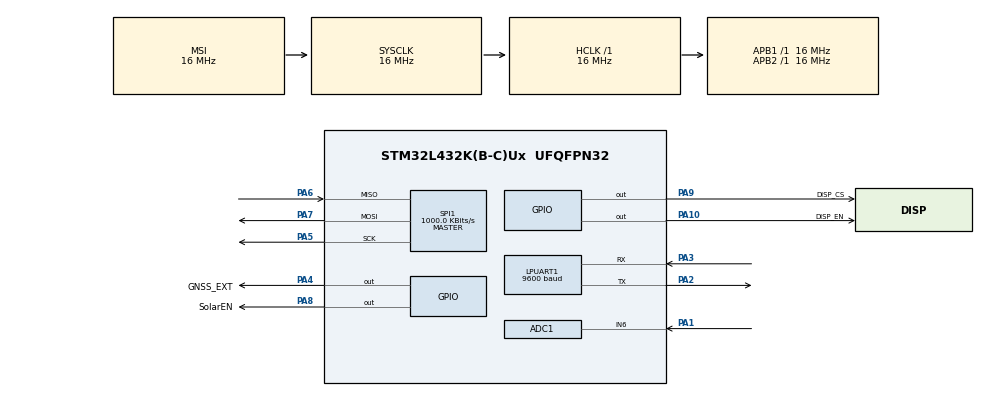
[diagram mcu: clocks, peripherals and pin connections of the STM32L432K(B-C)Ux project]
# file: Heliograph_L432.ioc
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ADC1.Channel-6\#ChannelRegularConversion=ADC_CHANNEL_6
ADC1.Channel-7\#ChannelRegularConversion=ADC_CHANNEL_TEMPSENSOR
ADC1.Channel-8\#ChannelRegularConversion=ADC_CHANNEL_VREFINT
ADC1.ClockPrescaler=ADC_CLOCK_ASYNC_DIV16
ADC1.DMAContinuousRequests=ENABLE
ADC1.EOCSelection=ADC_EOC_SEQ_CONV
ADC1.NbrOfConversion=3
ADC1.NbrOfConversionFlag=1
ADC1.OffsetNumber-6\#ChannelRegularConversion=ADC_OFFSET_NONE
ADC1.OffsetNumber-7\#ChannelRegularConversion=ADC_OFFSET_NONE
ADC1.OffsetNumber-8\#ChannelRegularConversion=ADC_OFFSET_NONE
ADC1.Overrun=ADC_OVR_DATA_OVERWRITTEN
ADC1.OversamplingMode=DISABLE
ADC1.Rank-6\#ChannelRegularConversion=1
ADC1.Rank-7\#ChannelRegularConversion=2
ADC1.Rank-8\#ChannelRegularConversion=3
ADC1.SamplingTime-6\#ChannelRegularConversion=ADC_SAMPLETIME_640CYCLES_5
ADC1.SamplingTime-7\#ChannelRegularConversion=ADC_SAMPLETIME_640CYCLES_5
ADC1.SamplingTime-8\#ChannelRegularConversion=ADC_SAMPLETIME_640CYCLES_5
ADC1.master=1
Dma.ADC1.0.Direction=DMA_PERIPH_TO_MEMORY
Dma.ADC1.0.Instance=DMA1_Channel1
Dma.ADC1.0.MemDataAlignment=DMA_MDATAALIGN_HALFWORD
Dma.ADC1.0.MemInc=DMA_MINC_ENABLE
Dma.ADC1.0.Mode=DMA_NORMAL
Dma.ADC1.0.PeriphDataAlignment=DMA_PDATAALIGN_HALFWORD
Dma.ADC1.0.PeriphInc=DMA_PINC_DISABLE
Dma.ADC1.0.Priority=DMA_PRIORITY_LOW
Dma.Request0=ADC1
Dma.Request1=SPI1_TX
Dma.SPI1_TX.1.Direction=DMA_MEMORY_TO_PERIPH
Dma.SPI1_TX.1.Instance=DMA1_Channel3
Dma.SPI1_TX.1.MemDataAlignment=DMA_MDATAALIGN_BYTE
Dma.SPI1_TX.1.MemInc=DMA_MINC_ENABLE
Dma.SPI1_TX.1.Mode=DMA_NORMAL
Dma.SPI1_TX.1.PeriphDataAlignment=DMA_PDATAALIGN_BYTE
Dma.SPI1_TX.1.PeriphInc=DMA_PINC_DISABLE
Dma.SPI1_TX.1.Priority=DMA_PRIORITY_LOW
LPUART1.BaudRate=9600
LPUART1.WordLength=UART_WORDLENGTH_8B
Mcu.Family=STM32L4
Mcu.Name=STM32L432K(B-C)Ux
Mcu.Package=UFQFPN32
NVIC.DMA1_Channel1_IRQn=true\:0\:0\:false\:false\:true\:false\:true\:true
NVIC.DMA1_Channel3_IRQn=true\:0\:0\:false\:false\:true\:false\:true\:true
NVIC.LPUART1_IRQn=true\:0\:0\:false\:false\:true\:true\:true\:true
NVIC.PriorityGroup=NVIC_PRIORITYGROUP_4
NVIC.RTC_WKUP_IRQn=true\:0\:0\:false\:false\:true\:true\:true\:true
NVIC.SPI1_IRQn=true\:0\:0\:false\:false\:true\:true\:true\:true
PA1.Signal=ADCx_IN6
PA10.GPIO_Label=DISP_EN
PA10.Signal=GPIO_Output
PA13\ (JTMS-SWDIO).Mode=Serial_Wire
PA13\ (JTMS-SWDIO).Signal=SYS_JTMS-SWDIO
PA14\ (JTCK-SWCLK).Mode=Serial_Wire
PA14\ (JTCK-SWCLK).Signal=SYS_JTCK-SWCLK
PA2.Mode=Asynchronous
PA2.Signal=LPUART1_TX
PA3.Mode=Asynchronous
PA3.Signal=LPUART1_RX
PA4.GPIO_Label=GNSS_EXT
PA4.PinState=GPIO_PIN_RESET
PA4.Signal=GPIO_Output
PA5.Mode=Full_Duplex_Master
PA5.Signal=SPI1_SCK
PA6.Mode=Full_Duplex_Master
PA6.Signal=SPI1_MISO
PA7.Mode=Full_Duplex_Master
PA7.Signal=SPI1_MOSI
PA8.GPIO_Label=SolarEN
PA8.GPIO_ModeDefaultOutputPP=GPIO_MODE_OUTPUT_OD
PA8.GPIO_PuPd=GPIO_NOPULL
PA8.PinState=GPIO_PIN_SET
PA8.Signal=GPIO_Output
PA9.GPIO_Label=DISP_CS
PA9.Signal=GPIO_Output
PC14-OSC32_IN\ (PC14).Mode=LSE-External-Oscillator
PC14-OSC32_IN\ (PC14).Signal=RCC_OSC32_IN
PC15-OSC32_OUT\ (PC15).Mode=LSE-External-Oscillator
PC15-OSC32_OUT\ (PC15).Signal=RCC_OSC32_OUT
ProjectManager.HeapSize=0x200
ProjectManager.StackSize=0x400
ProjectManager.TargetToolchain=STM32CubeIDE
RCC.ADCCLockSelection=RCC_ADCCLKSOURCE_SYSCLK
RCC.ADCFreq_Value=16000000
RCC.AHBFreq_Value=16000000
RCC.APB1Freq_Value=16000000
RCC.APB1TimFreq_Value=16000000
RCC.APB2Freq_Value=16000000
RCC.APB2TimFreq_Value=16000000
RCC.CK48CLockSelection=RCC_USBCLKSOURCE_HSI48
RCC.CortexFreq_Value=16000000
RCC.HCLKFreq_Value=16000000
RCC.HSE_VALUE=8000000
RCC.HSI48_VALUE=48000000
RCC.HSI_VALUE=16000000
RCC.LPUART1CLockSelection=RCC_LPUART1CLKSOURCE_LSE
RCC.LSE_Drive_Capability=RCC_LSEDRIVE_MEDIUMHIGH
RCC.MSIClockRange=RCC_MSIRANGE_8
RCC.MSI_VALUE=16000000
RCC.PLLR=RCC_PLLR_DIV4
RCC.PLLSourceVirtual=RCC_PLLSOURCE_HSI
RCC.PWR_Regulator_Voltage_Scale=PWR_REGULATOR_VOLTAGE_SCALE1
RCC.RTCClockSelection=RCC_RTCCLKSOURCE_LSE
RCC.SYSCLKFreq_VALUE=16000000
RCC.USBFreq_Value=48000000
RCC.VCOOutputFreq_Value=128000000
RCC.VDD_VALUE=3
RTC.Date=10
RTC.Hours=4
RTC.Minutes=4
RTC.Month=RTC_MONTH_MAY
RTC.Seconds=57
RTC.WakeUpCounter=2047
RTC.Year=23
SH.ADCx_IN6.0=ADC1_IN6,IN6-Single-Ended
SPI1.BaudRatePrescaler=SPI_BAUDRATEPRESCALER_16
SPI1.CalculateBaudRate=1000.0 KBits/s
SPI1.DataSize=SPI_DATASIZE_8BIT
SPI1.Direction=SPI_DIRECTION_2LINES
SPI1.FirstBit=SPI_FIRSTBIT_LSB
SPI1.Mode=SPI_MODE_MASTER
SPI1.NSSPMode=SPI_NSS_PULSE_DISABLE
SPI1.VirtualType=VM_MASTER
VP_ADC1_TempSens_Input.Mode=IN-TempSens
VP_ADC1_Vref_Input.Mode=IN-Vrefint
VP_RTC_VS_RTC_Activate.Mode=RTC_Enabled
VP_RTC_VS_RTC_Calendar.Mode=RTC_Calendar
VP_RTC_VS_RTC_WakeUp_intern.Mode=WakeUp
board=custom

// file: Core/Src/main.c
/* USER CODE BEGIN Header */
/**
  ******************************************************************************
  * @file           : main.c
  * @brief          : Main program body
  ******************************************************************************
  * @attention
  *
  * Copyright (c) 2023 STMicroelectronics.
  * All rights reserved.
  *
  * This software is licensed under terms that can be found in the LICENSE file
  * in the root directory of this software component.
  * If no LICENSE file comes with this software, it is provided AS-IS.
  *
  ******************************************************************************
  */
/* USER CODE END Header */
#include "main.h"

/* USER CODE BEGIN Includes */
#include "myApp.h"
/* USER CODE END Includes */

ADC_HandleTypeDef hadc1;
DMA_HandleTypeDef hdma_adc1;

RTC_HandleTypeDef hrtc;

SPI_HandleTypeDef hspi1;
DMA_HandleTypeDef hdma_spi1_tx;

void SystemClock_Config(void);
static void MX_GPIO_Init(void);
static void MX_DMA_Init(void);
static void MX_SPI1_Init(void);
static void MX_ADC1_Init(void);
static void MX_LPUART1_UART_Init(void);
static void MX_RTC_Init(void);

int main(void)
{

  /* MCU Configuration--------------------------------------------------------*/

  /* Reset of all peripherals, Initializes the Flash interface and the Systick. */
  HAL_Init();

  /* Configure the system clock */
  SystemClock_Config();

  /* Initialize all configured peripherals */
  MX_GPIO_Init();
  MX_DMA_Init();
  MX_SPI1_Init();
  MX_ADC1_Init();
  MX_RTC_Init();
  /* USER CODE BEGIN 2 */
  myApp_init();

  /* USER CODE END 2 */

  /* Infinite loop */
  /* USER CODE BEGIN WHILE */
  while (1)
  {
	  myApp_loop();
    /* USER CODE END WHILE */

  }
}

void SystemClock_Config(void)
{
  RCC_OscInitTypeDef RCC_OscInitStruct = {0};
  RCC_ClkInitTypeDef RCC_ClkInitStruct = {0};

  /** Configure the main internal regulator output voltage
  */
  if (HAL_PWREx_ControlVoltageScaling(PWR_REGULATOR_VOLTAGE_SCALE1) != HAL_OK)
  {
    Error_Handler();
  }

  /** Configure LSE Drive Capability
  */
  HAL_PWR_EnableBkUpAccess();
  __HAL_RCC_LSEDRIVE_CONFIG(RCC_LSEDRIVE_MEDIUMHIGH);

  /** Initializes the RCC Oscillators according to the specified parameters
  * in the RCC_OscInitTypeDef structure.
  */
  RCC_OscInitStruct.OscillatorType = RCC_OSCILLATORTYPE_LSE|RCC_OSCILLATORTYPE_MSI;
  RCC_OscInitStruct.LSEState = RCC_LSE_ON;
  RCC_OscInitStruct.MSIState = RCC_MSI_ON;
  RCC_OscInitStruct.MSICalibrationValue = 0;
  RCC_OscInitStruct.MSIClockRange = RCC_MSIRANGE_8;
  RCC_OscInitStruct.PLL.PLLState = RCC_PLL_NONE;
  if (HAL_RCC_OscConfig(&RCC_OscInitStruct) != HAL_OK)
  {
    Error_Handler();
  }

  /** Initializes the CPU, AHB and APB buses clocks
  */
  RCC_ClkInitStruct.ClockType = RCC_CLOCKTYPE_HCLK|RCC_CLOCKTYPE_SYSCLK
                              |RCC_CLOCKTYPE_PCLK1|RCC_CLOCKTYPE_PCLK2;
  RCC_ClkInitStruct.SYSCLKSource = RCC_SYSCLKSOURCE_MSI;
  RCC_ClkInitStruct.AHBCLKDivider = RCC_SYSCLK_DIV1;
  RCC_ClkInitStruct.APB1CLKDivider = RCC_HCLK_DIV1;
  RCC_ClkInitStruct.APB2CLKDivider = RCC_HCLK_DIV1;

  if (HAL_RCC_ClockConfig(&RCC_ClkInitStruct, FLASH_LATENCY_0) != HAL_OK)
  {
    Error_Handler();
  }

  /** Enable MSI Auto calibration
  */
  HAL_RCCEx_EnableMSIPLLMode();
}

static void MX_ADC1_Init(void)
{

  ADC_ChannelConfTypeDef sConfig = {0};

  /** Common config
  */
  hadc1.Instance = ADC1;
  hadc1.Init.ClockPrescaler = ADC_CLOCK_ASYNC_DIV16;
  hadc1.Init.Resolution = ADC_RESOLUTION_12B;
  hadc1.Init.DataAlign = ADC_DATAALIGN_RIGHT;
  hadc1.Init.ScanConvMode = ADC_SCAN_ENABLE;
  hadc1.Init.EOCSelection = ADC_EOC_SEQ_CONV;
  hadc1.Init.LowPowerAutoWait = DISABLE;
  hadc1.Init.ContinuousConvMode = DISABLE;
  hadc1.Init.NbrOfConversion = 3;
  hadc1.Init.DiscontinuousConvMode = DISABLE;
  hadc1.Init.ExternalTrigConv = ADC_SOFTWARE_START;
  hadc1.Init.ExternalTrigConvEdge = ADC_EXTERNALTRIGCONVEDGE_NONE;
  hadc1.Init.DMAContinuousRequests = ENABLE;
  hadc1.Init.Overrun = ADC_OVR_DATA_OVERWRITTEN;
  hadc1.Init.OversamplingMode = DISABLE;
  if (HAL_ADC_Init(&hadc1) != HAL_OK)
  {
    Error_Handler();
  }

  /** Configure Regular Channel
  */
  sConfig.Channel = ADC_CHANNEL_6;
  sConfig.Rank = ADC_REGULAR_RANK_1;
  sConfig.SamplingTime = ADC_SAMPLETIME_640CYCLES_5;
  sConfig.SingleDiff = ADC_SINGLE_ENDED;
  sConfig.OffsetNumber = ADC_OFFSET_NONE;
  sConfig.Offset = 0;
  if (HAL_ADC_ConfigChannel(&hadc1, &sConfig) != HAL_OK)
  {
    Error_Handler();
  }

  /** Configure Regular Channel
  */
  sConfig.Channel = ADC_CHANNEL_TEMPSENSOR;
  sConfig.Rank = ADC_REGULAR_RANK_2;
  if (HAL_ADC_ConfigChannel(&hadc1, &sConfig) != HAL_OK)
  {
    Error_Handler();
  }

  /** Configure Regular Channel
  */
  sConfig.Channel = ADC_CHANNEL_VREFINT;
  sConfig.Rank = ADC_REGULAR_RANK_3;
  if (HAL_ADC_ConfigChannel(&hadc1, &sConfig) != HAL_OK)
  {
    Error_Handler();
  }
  /* USER CODE BEGIN ADC1_Init 2 */

  HAL_ADCEx_Calibration_Start(&hadc1, ADC_SINGLE_ENDED);
  /* USER CODE END ADC1_Init 2 */

}

static void MX_LPUART1_UART_Init(void)
{

  LL_LPUART_InitTypeDef LPUART_InitStruct = {0};

  LL_GPIO_InitTypeDef GPIO_InitStruct = {0};
  RCC_PeriphCLKInitTypeDef PeriphClkInit = {0};

  /** Initializes the peripherals clock
  */
  PeriphClkInit.PeriphClockSelection = RCC_PERIPHCLK_LPUART1;
  PeriphClkInit.Lpuart1ClockSelection = RCC_LPUART1CLKSOURCE_LSE;
  if (HAL_RCCEx_PeriphCLKConfig(&PeriphClkInit) != HAL_OK)
  {
    Error_Handler();
  }

  /* Peripheral clock enable */
  LL_APB1_GRP2_EnableClock(LL_APB1_GRP2_PERIPH_LPUART1);

  LL_AHB2_GRP1_EnableClock(LL_AHB2_GRP1_PERIPH_GPIOA);
  /**LPUART1 GPIO Configuration
  PA2   ------> LPUART1_TX
  PA3   ------> LPUART1_RX
  */
  GPIO_InitStruct.Pin = LL_GPIO_PIN_2|LL_GPIO_PIN_3;
  GPIO_InitStruct.Mode = LL_GPIO_MODE_ALTERNATE;
  GPIO_InitStruct.Speed = LL_GPIO_SPEED_FREQ_VERY_HIGH;
  GPIO_InitStruct.OutputType = LL_GPIO_OUTPUT_PUSHPULL;
  GPIO_InitStruct.Pull = LL_GPIO_PULL_NO;
  GPIO_InitStruct.Alternate = LL_GPIO_AF_8;
  LL_GPIO_Init(GPIOA, &GPIO_InitStruct);

  /* LPUART1 interrupt Init */
  NVIC_SetPriority(LPUART1_IRQn, NVIC_EncodePriority(NVIC_GetPriorityGrouping(),0, 0));
  NVIC_EnableIRQ(LPUART1_IRQn);

  /* USER CODE BEGIN LPUART1_Init 1 */
  LL_LPUART_DisableOverrunDetect(LPUART1);
  LL_LPUART_EnableClockInStopMode(LPUART1);
  LL_LPUART_SetWKUPType(LPUART1, LL_LPUART_WAKEUP_ON_RXNE); //Set the wake-up event type : specify wake-up on RXNE flag

  /* USER CODE END LPUART1_Init 1 */
  LPUART_InitStruct.BaudRate = 9600;
  LPUART_InitStruct.DataWidth = LL_LPUART_DATAWIDTH_8B;
  LPUART_InitStruct.StopBits = LL_LPUART_STOPBITS_1;
  LPUART_InitStruct.Parity = LL_LPUART_PARITY_NONE;
  LPUART_InitStruct.TransferDirection = LL_LPUART_DIRECTION_TX_RX;
  LPUART_InitStruct.HardwareFlowControl = LL_LPUART_HWCONTROL_NONE;
  LL_LPUART_Init(LPUART1, &LPUART_InitStruct);
  LL_LPUART_Enable(LPUART1);
  /* USER CODE BEGIN LPUART1_Init 2 */
  LL_LPUART_EnableIT_RXNE(LPUART1);

  /* USER CODE END LPUART1_Init 2 */

}

static void MX_RTC_Init(void)
{

  RTC_TimeTypeDef sTime = {0};
  RTC_DateTypeDef sDate = {0};

  /** Initialize RTC Only
  */
  hrtc.Instance = RTC;
  hrtc.Init.HourFormat = RTC_HOURFORMAT_24;
  hrtc.Init.AsynchPrediv = 127;
  hrtc.Init.SynchPrediv = 255;
  hrtc.Init.OutPut = RTC_OUTPUT_DISABLE;
  hrtc.Init.OutPutRemap = RTC_OUTPUT_REMAP_NONE;
  hrtc.Init.OutPutPolarity = RTC_OUTPUT_POLARITY_HIGH;
  hrtc.Init.OutPutType = RTC_OUTPUT_TYPE_OPENDRAIN;
  if (HAL_RTC_Init(&hrtc) != HAL_OK)
  {
    Error_Handler();
  }

  /** Initialize RTC and set the Time and Date
  */
  sTime.Hours = 0x4;
  sTime.Minutes = 0x4;
  sTime.Seconds = 0x57;
  sTime.DayLightSaving = RTC_DAYLIGHTSAVING_NONE;
  sTime.StoreOperation = RTC_STOREOPERATION_RESET;
  if (HAL_RTC_SetTime(&hrtc, &sTime, RTC_FORMAT_BCD) != HAL_OK)
  {
    Error_Handler();
  }
  sDate.WeekDay = RTC_WEEKDAY_MONDAY;
  sDate.Month = RTC_MONTH_MAY;
  sDate.Date = 0x10;
  sDate.Year = 0x23;

  if (HAL_RTC_SetDate(&hrtc, &sDate, RTC_FORMAT_BCD) != HAL_OK)
  {
    Error_Handler();
  }

  /** Enable the WakeUp
  */
  if (HAL_RTCEx_SetWakeUpTimer_IT(&hrtc, 2047, RTC_WAKEUPCLOCK_RTCCLK_DIV16) != HAL_OK)
  {
    Error_Handler();
  }

}

static void MX_SPI1_Init(void)
{

  /* SPI1 parameter configuration*/
  hspi1.Instance = SPI1;
  hspi1.Init.Mode = SPI_MODE_MASTER;
  hspi1.Init.Direction = SPI_DIRECTION_2LINES;
  hspi1.Init.DataSize = SPI_DATASIZE_8BIT;
  hspi1.Init.CLKPolarity = SPI_POLARITY_LOW;
  hspi1.Init.CLKPhase = SPI_PHASE_1EDGE;
  hspi1.Init.NSS = SPI_NSS_SOFT;
  hspi1.Init.BaudRatePrescaler = SPI_BAUDRATEPRESCALER_16;
  hspi1.Init.FirstBit = SPI_FIRSTBIT_LSB;
  hspi1.Init.TIMode = SPI_TIMODE_DISABLE;
  hspi1.Init.CRCCalculation = SPI_CRCCALCULATION_DISABLE;
  hspi1.Init.CRCPolynomial = 7;
  hspi1.Init.CRCLength = SPI_CRC_LENGTH_DATASIZE;
  hspi1.Init.NSSPMode = SPI_NSS_PULSE_DISABLE;
  if (HAL_SPI_Init(&hspi1) != HAL_OK)
  {
    Error_Handler();
  }

}

static void MX_DMA_Init(void)
{

  /* DMA controller clock enable */
  __HAL_RCC_DMA1_CLK_ENABLE();

  /* DMA interrupt init */
  /* DMA1_Channel1_IRQn interrupt configuration */
  HAL_NVIC_SetPriority(DMA1_Channel1_IRQn, 0, 0);
  HAL_NVIC_EnableIRQ(DMA1_Channel1_IRQn);
  /* DMA1_Channel3_IRQn interrupt configuration */
  HAL_NVIC_SetPriority(DMA1_Channel3_IRQn, 0, 0);
  HAL_NVIC_EnableIRQ(DMA1_Channel3_IRQn);

}

static void MX_GPIO_Init(void)
{
  GPIO_InitTypeDef GPIO_InitStruct = {0};

  /* GPIO Ports Clock Enable */
  __HAL_RCC_GPIOC_CLK_ENABLE();
  __HAL_RCC_GPIOA_CLK_ENABLE();
  __HAL_RCC_GPIOB_CLK_ENABLE();
  __HAL_RCC_GPIOH_CLK_ENABLE();

  /*Configure GPIO pin Output Level */
  HAL_GPIO_WritePin(GPIOA, GNSS_EXT_Pin|DISP_CS_Pin|DISP_EN_Pin, GPIO_PIN_RESET);

  /*Configure GPIO pin Output Level */
  HAL_GPIO_WritePin(SolarEN_GPIO_Port, SolarEN_Pin, GPIO_PIN_SET);

  /*Configure GPIO pins : PA0 PA11 PA12 PA15 */
  GPIO_InitStruct.Pin = GPIO_PIN_0|GPIO_PIN_11|GPIO_PIN_12|GPIO_PIN_15;
  GPIO_InitStruct.Mode = GPIO_MODE_ANALOG;
  GPIO_InitStruct.Pull = GPIO_NOPULL;
  HAL_GPIO_Init(GPIOA, &GPIO_InitStruct);

  /*Configure GPIO pins : GNSS_EXT_Pin DISP_CS_Pin DISP_EN_Pin */
  GPIO_InitStruct.Pin = GNSS_EXT_Pin|DISP_CS_Pin|DISP_EN_Pin;
  GPIO_InitStruct.Mode = GPIO_MODE_OUTPUT_PP;
  GPIO_InitStruct.Pull = GPIO_NOPULL;
  GPIO_InitStruct.Speed = GPIO_SPEED_FREQ_LOW;
  HAL_GPIO_Init(GPIOA, &GPIO_InitStruct);

  /*Configure GPIO pins : PB0 PB1 PB3 PB4
                           PB5 PB6 PB7 */
  GPIO_InitStruct.Pin = GPIO_PIN_0|GPIO_PIN_1|GPIO_PIN_3|GPIO_PIN_4
                          |GPIO_PIN_5|GPIO_PIN_6|GPIO_PIN_7;
  GPIO_InitStruct.Mode = GPIO_MODE_ANALOG;
  GPIO_InitStruct.Pull = GPIO_NOPULL;
  HAL_GPIO_Init(GPIOB, &GPIO_InitStruct);

  /*Configure GPIO pin : SolarEN_Pin */
  GPIO_InitStruct.Pin = SolarEN_Pin;
  GPIO_InitStruct.Mode = GPIO_MODE_OUTPUT_OD;
  GPIO_InitStruct.Pull = GPIO_NOPULL;
  GPIO_InitStruct.Speed = GPIO_SPEED_FREQ_LOW;
  HAL_GPIO_Init(SolarEN_GPIO_Port, &GPIO_InitStruct);

  /*Configure GPIO pin : PH3 */
  GPIO_InitStruct.Pin = GPIO_PIN_3;
  GPIO_InitStruct.Mode = GPIO_MODE_ANALOG;
  GPIO_InitStruct.Pull = GPIO_NOPULL;
  HAL_GPIO_Init(GPIOH, &GPIO_InitStruct);

}

/* USER CODE BEGIN 4 */
void HAL_Delay(uint32_t Delay)
{
  uint32_t tickstart = HAL_GetTick();
  uint32_t wait = Delay;

  /* Add a period to guaranty minimum wait */
  if (wait < HAL_MAX_DELAY)
  {
    wait += (uint32_t)uwTickFreq;

  }

  while ((HAL_GetTick() - tickstart) < wait)
  {
	  __WFI();
  }
}

void USER_LPUART1_UART_Init(){
	MX_LPUART1_UART_Init();
}

void USER_LPUART1_UART_DeInit(){
	LL_LPUART_DeInit(LPUART1);

	GPIO_InitTypeDef GPIO_InitStruct = {0};

	GPIO_InitStruct.Pin = GPIO_PIN_2|GPIO_PIN_3;
	GPIO_InitStruct.Mode = GPIO_MODE_ANALOG;
	GPIO_InitStruct.Pull = GPIO_NOPULL;
	HAL_GPIO_Init(GPIOA, &GPIO_InitStruct);
}

/* USER CODE END 4 */

void Error_Handler(void)
{
  __disable_irq();
  while (1)
  {
  }
}
